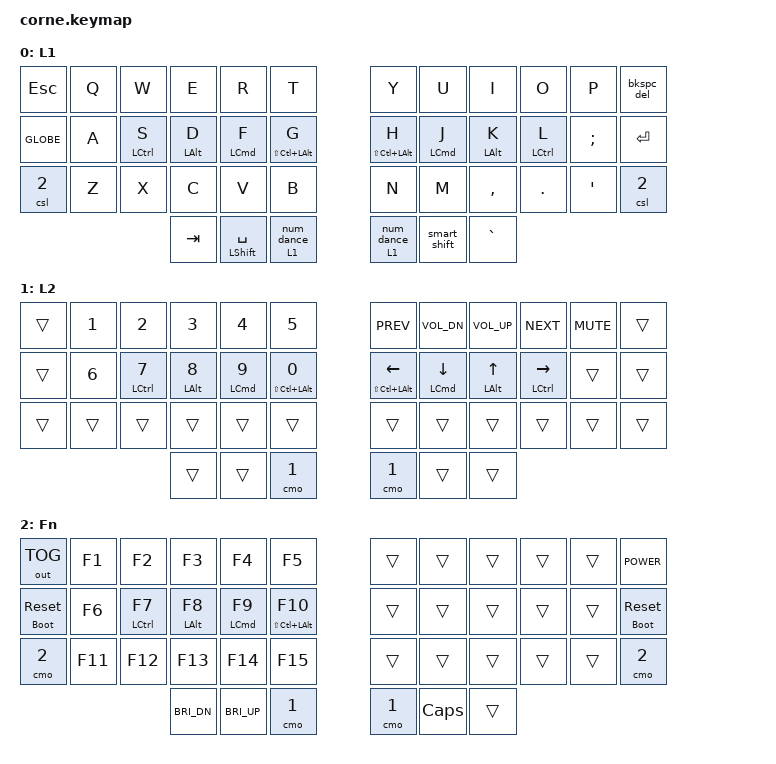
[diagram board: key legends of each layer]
/*
 * Copyright (c) 2020 The ZMK Contributors
 *
 * SPDX-License-Identifier: MIT
 */

#include <behaviors/num_word.dtsi>
#include <behaviors.dtsi>
#include <dt-bindings/zmk/bt.h>
#include <dt-bindings/zmk/keys.h>
#include <dt-bindings/zmk/outputs.h>

&mt {
    flavor = "balanced";
    tapping-term-ms = <280>;
    quick-tap-ms = <175>;
    require-prior-idle-ms = <150>;
};

&lt {
    flavor = "balanced";
    tapping-term-ms = <280>;
    quick-tap-ms = <175>;
    require-prior-idle-ms = <150>;
};

&sk { quick-release; };

// From: https://github.com/urob/zmk-config/
// num-word, requires PR https://github.com/zmkfirmware/zmk/pull/1451
// Adds arrows and shift to smart layer for more comfortable navigation/selection moves

&num_word { continue-list = <BSPC DEL DOT COMMA PLUS MINUS STAR FSLH EQUAL RSHFT LEFT RIGHT UP DOWN>; };

/ {
    behaviors {
        /*
    Home Row Mods

    - tap: &kp <PARAM_2>
    - hold: &kp <PARAM_1>

    Example: &hrml LCMD T
    */

        hrml: hrm_left {
            bindings = <&kp>, <&kp>;

            compatible = "zmk,behavior-hold-tap";
            flavor = "balanced";
            hold-trigger-key-positions = <6 7 8 9 10 11 18 19 20 21 22 23 30 31 32 33 34 35 36 37 38 39 40 41>;
            hold-trigger-on-release;
            tapping-term-ms = <280>;
            quick-tap-ms = <175>;
            require-prior-idle-ms = <150>;
            #binding-cells = <2>;
        };

        hrmr: hrm_right {
            bindings = <&kp>, <&kp>;

            compatible = "zmk,behavior-hold-tap";
            flavor = "balanced";
            hold-trigger-key-positions = <0 1 2 3 4 5 12 13 14 15 16 17 24 25 26 27 28 29 36 37 38 39 40 41>;
            hold-trigger-on-release;
            tapping-term-ms = <280>;
            quick-tap-ms = <175>;
            require-prior-idle-ms = <150>;
            #binding-cells = <2>;
        };

        /*
    - tap: sticky shift
    - double-tap: caps-word (shift + tap mod-morph)
    - hold: shift

    From: https://github.com/urob/zmk-config/
    */

        smart_shift: smart_shift {
            compatible = "zmk,behavior-mod-morph";
            bindings = <&sk RSHFT>, <&caps_word>;

            mods = <(MOD_RSFT)>;
            #binding-cells = <0>;
        };

        /*
    - tap: num-word
    - hold: &mo layer

    From: https://github.com/urob/zmk-config/
    */

        smart_num: smart_num {
            compatible = "zmk,behavior-hold-tap";
            flavor = "balanced";
            tapping-term-ms = <280>;
            bindings = <&mo>, <&num_dance>;

            #binding-cells = <2>;
        };

        /*
    - tap: &sl L2
    - tap x 2: &num_word

    From: https://github.com/urob/zmk-config/
    */

        num_dance: num_dance {
            compatible = "zmk,behavior-tap-dance";
            tapping-term-ms = <280>;
            bindings = <&sl 1>, <&num_word 1>;

            #binding-cells = <0>;
        };

        /*
    - tap: backspace
    - hold: repeat backspace
    - shift + tap: delete
    - shift + hold: repeat delete

    From: https://zmk.dev/docs/behaviors/mod-morph#advanced-configuration
    */

        bkspc_del: backspace_delete {
            compatible = "zmk,behavior-mod-morph";
            bindings = <&kp BACKSPACE>, <&kp DELETE>;

            mods = <(MOD_LSFT|MOD_RSFT)>;
            #binding-cells = <0>;
        };

        /*
    - tap: reset keyboard
    - hold: enter bootloader mode
    */

        rst_boot: rst_boot {
            compatible = "zmk,behavior-hold-tap";
            #binding-cells = <2>;
            tapping-term-ms = <500>;
            flavor = "tap-preferred";
            bindings = <&bootloader>, <&sys_reset>;
        };
    };

    macros {
        /*
      Temporarily switches to a layer (&mo) while a modifier is held. This is
      an implementation of QMK's `LM()` using ZMK's parameterized macros.

      Params:
        1. Layer to switch to
        2. Modifier to press while layer is active

      Example:
        `&lm L1 LSHIFT`
     */

        lm: lm {
            wait-ms = <0>;
            tap-ms = <0>;
            compatible = "zmk,behavior-macro-two-param";
            #binding-cells = <2>;
            bindings =
                <&macro_param_1to1>,
                <&macro_press>,
                <&mo MACRO_PLACEHOLDER &macro_param_2to1>,
                <&macro_press>,
                <&kp MACRO_PLACEHOLDER>,
                <&macro_pause_for_release>,
                <&macro_param_2to1>,
                <&macro_release>,
                <&kp MACRO_PLACEHOLDER &macro_param_1to1>,
                <&macro_release>,
                <&mo MACRO_PLACEHOLDER>;
        };

        /*
      Practically identical to &sl, except it triggers a `K_CANCEL` right before to clear
      any active smart layers. This prevents nested/stacked layer activation when needed.

      Params:
        1. Layer to switch to

      Example:
        `&csl L1`
     */

        csl: clear_sl {
            wait-ms = <0>;
            tap-ms = <0>;
            compatible = "zmk,behavior-macro-one-param";
            #binding-cells = <1>;
            bindings =
                <&macro_tap>,
                <&kp K_CANCEL &macro_param_1to1>,
                <&macro_press>,
                <&sl MACRO_PLACEHOLDER>,
                <&macro_pause_for_release>,
                <&macro_param_1to1>,
                <&macro_release>,
                <&sl MACRO_PLACEHOLDER>;
        };

        /*
      Practically identical to &mo, except it triggers a `K_CANCEL` right before to clear
      any active smart layers. This prevents nested/stacked layer activation when needed.
      It's also useful to maintain more consistent expectations when holding a cancel/exit layer
      key from a smart layer.

      Params:
        1. Layer to switch to

      Example:
        `&cmo L1`
     */

        cmo: clear_mo {
            wait-ms = <0>;
            tap-ms = <0>;
            compatible = "zmk,behavior-macro-one-param";
            #binding-cells = <1>;
            bindings =
                <&macro_tap>,
                <&kp K_CANCEL &macro_param_1to1>,
                <&macro_press>,
                <&mo MACRO_PLACEHOLDER>,
                <&macro_pause_for_release>,
                <&macro_param_1to1>,
                <&macro_release>,
                <&mo MACRO_PLACEHOLDER>;
        };
    };

    combos {
        compatible = "zmk,combos";

        /*
      KEY POSITIONS
      ╭────────────────────────╮  ╭────────────────────────╮
      │ 0   1   2   3   4   5  │  │ 6   7   8   9   10  11 │
      │ 12  13  14  15  16  17 │  │ 18  19  20  21  22  23 │
      │ 24  25  26  27  28  29 │  │ 30  31  32  33  34  35 │
      ╰───────────╮ 36  37  38 │  │ 39  40  41 ╭───────────╯
                  ╰────────────╯  ╰────────────╯
    */
        /* Symbols */
        // Left

        combo_excl {
            timeout-ms = <30>;
            bindings = <&kp EXCL>;
            key-positions = <1 13>;
            layers = <0 1>;
            require-prior-idle-ms = <100>;
        };

        combo_at {
            timeout-ms = <30>;
            bindings = <&kp AT>;
            key-positions = <2 14>;
            layers = <0 1>;
            require-prior-idle-ms = <100>;
        };

        combo_hash {
            timeout-ms = <30>;
            bindings = <&kp HASH>;
            key-positions = <3 15>;
            layers = <0 1>;
            require-prior-idle-ms = <100>;
        };

        combo_dollar {
            timeout-ms = <30>;
            bindings = <&kp DOLLAR>;
            key-positions = <4 16>;
            layers = <0 1>;
            require-prior-idle-ms = <100>;
        };

        combo_percent {
            timeout-ms = <30>;
            bindings = <&kp PERCENT>;
            key-positions = <5 17>;
            layers = <0 1>;
            require-prior-idle-ms = <100>;
        };

        combo_caret {
            timeout-ms = <30>;
            bindings = <&kp CARET>;
            key-positions = <13 25>;
            layers = <0 1>;
            require-prior-idle-ms = <100>;
        };

        combo_ampersand {
            timeout-ms = <30>;
            bindings = <&kp AMPERSAND>;
            key-positions = <14 26>;
            layers = <0 1>;
            require-prior-idle-ms = <100>;
        };

        combo_star {
            timeout-ms = <30>;
            bindings = <&kp STAR>;
            key-positions = <15 27>;
            layers = <0 1>;
            require-prior-idle-ms = <100>;
        };

        combo_lpar {
            timeout-ms = <30>;
            bindings = <&kp LPAR>;
            key-positions = <16 28>;
            layers = <0 1>;
            require-prior-idle-ms = <100>;
        };

        combo_rpar {
            timeout-ms = <30>;
            bindings = <&kp RPAR>;
            key-positions = <17 29>;
            layers = <0 1>;
            require-prior-idle-ms = <100>;
        };

        // Right

        combo_minus {
            timeout-ms = <30>;
            bindings = <&kp MINUS>;
            key-positions = <7 19>;
            layers = <0 1 2>;
            require-prior-idle-ms = <100>;
        };

        combo_equal {
            timeout-ms = <30>;
            bindings = <&kp EQUAL>;
            key-positions = <8 20>;
            layers = <0 1 2>;
            require-prior-idle-ms = <100>;
        };

        combo_slash {
            timeout-ms = <30>;
            bindings = <&kp SLASH>;
            key-positions = <9 21>;
            layers = <0 1 2>;
            require-prior-idle-ms = <100>;
        };

        combo_pgup {
            timeout-ms = <30>;
            bindings = <&kp PG_UP>;
            key-positions = <6 18>;
            layers = <0 1 2>;
            require-prior-idle-ms = <100>;
        };

        combo_pgdn {
            timeout-ms = <30>;
            bindings = <&kp PG_DN>;
            key-positions = <18 30>;
            layers = <0 1 2>;
            require-prior-idle-ms = <100>;
        };

        combo_lbkt {
            timeout-ms = <30>;
            bindings = <&kp LBKT>;
            key-positions = <19 31>;
            layers = <0 1 2>;
            require-prior-idle-ms = <100>;
        };

        combo_rbkt {
            timeout-ms = <30>;
            bindings = <&kp RBKT>;
            key-positions = <20 32>;
            layers = <0 1 2>;
            require-prior-idle-ms = <100>;
        };

        combo_backslash {
            timeout-ms = <30>;
            bindings = <&kp BACKSLASH>;
            key-positions = <21 33>;
            layers = <0 1 2>;
            require-prior-idle-ms = <100>;
        };

        /* Bluetooth */

        combo_bt_clear {
            timeout-ms = <30>;
            bindings = <&bt BT_CLR>;
            key-positions = <1 2 3 4>;
            layers = <2>;
            require-prior-idle-ms = <100>;
        };

        combo_bt_sel_0 {
            timeout-ms = <30>;
            bindings = <&bt BT_SEL 0>;
            key-positions = <1 13>;
            layers = <2>;
            require-prior-idle-ms = <100>;
        };

        combo_bt_sel_1 {
            timeout-ms = <30>;
            bindings = <&bt BT_SEL 1>;
            key-positions = <2 14>;
            layers = <2>;
            require-prior-idle-ms = <100>;
        };

        combo_bt_sel_2 {
            timeout-ms = <30>;
            bindings = <&bt BT_SEL 2>;
            key-positions = <3 15>;
            layers = <2>;
            require-prior-idle-ms = <100>;
        };

        combo_bt_sel_3 {
            timeout-ms = <30>;
            bindings = <&bt BT_SEL 3>;
            key-positions = <4 16>;
            layers = <2>;
            require-prior-idle-ms = <100>;
        };

        combo_bt_sel_4 {
            timeout-ms = <30>;
            bindings = <&bt BT_SEL 4>;
            key-positions = <5 17>;
            layers = <2>;
            require-prior-idle-ms = <100>;
        };

        /* Media */

        combo_play {
            timeout-ms = <30>;
            bindings = <&kp C_PP>;
            key-positions = <6 7>;
            layers = <0 1 2>;
            require-prior-idle-ms = <100>;
        };
    };

    keymap {
        compatible = "zmk,keymap";

        qwerty_layer {
            display-name = "L1";
            bindings = <
&kp ESC    &kp Q  &kp W          &kp E         &kp R            &kp T                   &kp Y                 &kp U         &kp I         &kp O          &kp P             &bkspc_del
&kp GLOBE  &kp A  &hrml LCTRL S  &hrml LALT D  &hrml LCMD F     &hrml LS(LC(LALT)) G    &hrmr LS(LC(LALT)) H  &hrmr LCMD J  &hrmr LALT K  &hrmr LCTRL L  &kp SEMICOLON     &kp ENTER
&csl 2     &kp Z  &kp X          &kp C         &kp V            &kp B                   &kp N                 &kp M         &kp COMMA     &kp DOT        &kp SINGLE_QUOTE  &csl 2
                                 &kp TAB       &mt LSHFT SPACE  &smart_num 1 0          &smart_num 1 0        &smart_shift  &kp GRAVE
            >;
        };

        layer_2 {
            display-name = "L2";
            bindings = <
&trans  &kp N1  &kp N2          &kp N3         &kp N4         &kp N5                   &kp C_PREV               &kp C_VOL_DN     &kp C_VOL_UP   &kp C_NEXT         &kp C_MUTE  &trans
&trans  &kp N6  &hrml LCTRL N7  &hrml LALT N8  &hrml LCMD N9  &hrml LS(LC(LALT)) N0    &hrmr LS(LC(LALT)) LEFT  &hrmr LCMD DOWN  &hrmr LALT UP  &hrmr LCTRL RIGHT  &trans      &trans
&trans  &trans  &trans          &trans         &trans         &trans                   &trans                   &trans           &trans         &trans             &trans      &trans
                                &trans         &trans         &cmo 1                   &cmo 1                   &trans           &trans
            >;
        };

        fn_layer {
            display-name = "Fn";
            bindings = <
&out OUT_TOG   &kp F1   &kp F2          &kp F3         &kp F4         &kp F5                    &trans  &trans        &trans  &trans  &trans  &kp C_POWER
&rst_boot 0 0  &kp F6   &hrml LCTRL F7  &hrml LALT F8  &hrml LCMD F9  &hrml LS(LC(LALT)) F10    &trans  &trans        &trans  &trans  &trans  &rst_boot 0 0
&cmo 2         &kp F11  &kp F12         &kp F13        &kp F14        &kp F15                   &trans  &trans        &trans  &trans  &trans  &cmo 2
                                        &kp C_BRI_DN   &kp C_BRI_UP   &cmo 1                    &cmo 1  &kp CAPSLOCK  &trans
            >;
        };
    };
};
